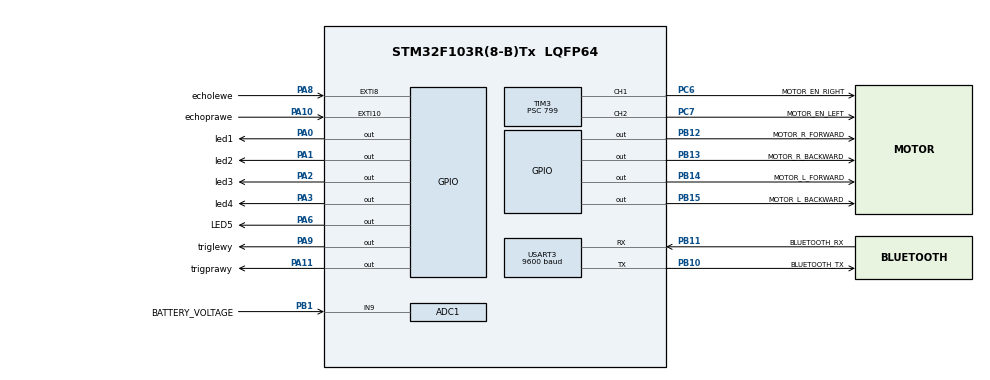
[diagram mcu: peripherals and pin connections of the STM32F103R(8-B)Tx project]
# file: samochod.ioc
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ADC1.Channel-5\#ChannelRegularConversion=ADC_CHANNEL_9
ADC1.NbrOfConversionFlag=1
ADC1.Rank-5\#ChannelRegularConversion=1
ADC1.SamplingTime-5\#ChannelRegularConversion=ADC_SAMPLETIME_1CYCLE_5
ADC1.master=1
Mcu.Family=STM32F1
Mcu.Name=STM32F103R(8-B)Tx
Mcu.Package=LQFP64
NVIC.EXTI15_10_IRQn=true\:0\:0\:false\:false\:true\:true
NVIC.PriorityGroup=NVIC_PRIORITYGROUP_4
NVIC.TIM1_TRG_COM_IRQn=true\:0\:0\:false\:false\:true\:true
NVIC.TIM2_IRQn=true\:0\:0\:false\:true\:true\:1\:true
NVIC.TIM3_IRQn=true\:0\:0\:false\:false\:true\:true
NVIC.USART3_IRQn=true\:0\:0\:false\:false\:true\:true
PA0-WKUP.GPIO_Label=led1
PA0-WKUP.Signal=GPIO_Output
PA1.GPIO_Label=led2
PA1.Signal=GPIO_Output
PA10.GPIO_Label=echoprawe
PA10.GPIO_ModeDefaultEXTI=GPIO_MODE_IT_RISING_FALLING
PA10.GPIO_PuPd=GPIO_PULLDOWN
PA10.Signal=GPXTI10
PA11.GPIO_Label=trigprawy
PA11.Signal=GPIO_Output
PA13.Mode=Serial_Wire
PA13.Signal=SYS_JTMS-SWDIO
PA14.Mode=Serial_Wire
PA14.Signal=SYS_JTCK-SWCLK
PA2.GPIO_Label=led3
PA2.Signal=GPIO_Output
PA3.GPIO_Label=led4
PA3.Signal=GPIO_Output
PA6.GPIO_Label=LED5
PA6.Signal=GPIO_Output
PA8.GPIO_Label=echolewe
PA8.GPIO_ModeDefaultEXTI=GPIO_MODE_IT_RISING_FALLING
PA8.GPIO_PuPd=GPIO_PULLDOWN
PA8.Signal=GPXTI8
PA9.GPIO_Label=triglewy
PA9.Signal=GPIO_Output
PB1.GPIO_Label=BATTERY_VOLTAGE
PB1.Signal=ADCx_IN9
PB10.GPIO_Label=BLUETOOTH_TX
PB10.Mode=Asynchronous
PB10.Signal=USART3_TX
PB11.GPIO_Label=BLUETOOTH_RX
PB11.Mode=Asynchronous
PB11.Signal=USART3_RX
PB12.GPIO_Label=MOTOR_R_FORWARD
PB12.Signal=GPIO_Output
PB13.GPIO_Label=MOTOR_R_BACKWARD
PB13.Signal=GPIO_Output
PB14.GPIO_Label=MOTOR_L_FORWARD
PB14.Signal=GPIO_Output
PB15.GPIO_Label=MOTOR_L_BACKWARD
PB15.Signal=GPIO_Output
PC6.GPIO_Label=MOTOR_EN_RIGHT
PC6.Signal=S_TIM3_CH1
PC7.GPIO_Label=MOTOR_EN_LEFT
PC7.Signal=S_TIM3_CH2
ProjectManager.HeapSize=0x200
ProjectManager.StackSize=0x400
ProjectManager.TargetToolchain=TrueSTUDIO
RCC.APB1Freq_Value=8000000
RCC.APB2Freq_Value=8000000
SH.ADCx_IN9.0=ADC1_IN9,IN9
SH.S_TIM3_CH1.0=TIM3_CH1,PWM Generation1 CH1
SH.S_TIM3_CH2.0=TIM3_CH2,PWM Generation2 CH2
TIM1.Period=999
TIM1.Prescaler=7
TIM2.Period=9999
TIM2.Prescaler=7
TIM3.Channel-PWM\ Generation1\ CH1=TIM_CHANNEL_1
TIM3.Channel-PWM\ Generation2\ CH2=TIM_CHANNEL_2
TIM3.Period=99
TIM3.Prescaler=799
USART3.BaudRate=9600
USART3.VirtualMode=VM_ASYNC
VP_TIM1_VS_ClockSourceINT.Mode=Internal
VP_TIM2_VS_ClockSourceINT.Mode=Internal
VP_TIM3_VS_ClockSourceINT.Mode=Internal
board=samochod

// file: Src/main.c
/**
  ******************************************************************************
  * @file           : main.c
  * @brief          : Main program body
  ******************************************************************************
  ** This notice applies to any and all portions of this file
  * that are not between comment pairs USER CODE BEGIN and
  * USER CODE END. Other portions of this file, whether
  * inserted by the user or by software development tools
  * are owned by their respective copyright owners.
  *
  * COPYRIGHT(c) 2018 STMicroelectronics
  *
  * Redistribution and use in source and binary forms, with or without modification,
  * are permitted provided that the following conditions are met:
  *   1. Redistributions of source code must retain the above copyright notice,
  *      this list of conditions and the following disclaimer.
  *   2. Redistributions in binary form must reproduce the above copyright notice,
  *      this list of conditions and the following disclaimer in the documentation
  *      and/or other materials provided with the distribution.
  *   3. Neither the name of STMicroelectronics nor the names of its contributors
  *      may be used to endorse or promote products derived from this software
  *      without specific prior written permission.
  *
  * THIS SOFTWARE IS PROVIDED BY THE COPYRIGHT HOLDERS AND CONTRIBUTORS "AS IS"
  * AND ANY EXPRESS OR IMPLIED WARRANTIES, INCLUDING, BUT NOT LIMITED TO, THE
  * IMPLIED WARRANTIES OF MERCHANTABILITY AND FITNESS FOR A PARTICULAR PURPOSE ARE
  * DISCLAIMED. IN NO EVENT SHALL THE COPYRIGHT HOLDER OR CONTRIBUTORS BE LIABLE
  * FOR ANY DIRECT, INDIRECT, INCIDENTAL, SPECIAL, EXEMPLARY, OR CONSEQUENTIAL
  * DAMAGES (INCLUDING, BUT NOT LIMITED TO, PROCUREMENT OF SUBSTITUTE GOODS OR
  * SERVICES; LOSS OF USE, DATA, OR PROFITS; OR BUSINESS INTERRUPTION) HOWEVER
  * CAUSED AND ON ANY THEORY OF LIABILITY, WHETHER IN CONTRACT, STRICT LIABILITY,
  * OR TORT (INCLUDING NEGLIGENCE OR OTHERWISE) ARISING IN ANY WAY OUT OF THE USE
  * OF THIS SOFTWARE, EVEN IF ADVISED OF THE POSSIBILITY OF SUCH DAMAGE.
  *
  ******************************************************************************
  */
#include "main.h"
#include "stm32f1xx_hal.h"
#include "adc.h"
#include "tim.h"
#include "usart.h"
#include "gpio.h"

/* USER CODE BEGIN PV */
/* Private variables ---------------------------------------------------------*/
int inited=0;
uint32_t test=0;
int SENSOR_EXT_Flag=0;
uint16_t timeSENSOR=0;
uint16_t distanceL=9999,distanceR=9999;
int8_t BluetoothData[2]={0,0};	//Roll,Pitch
uint16_t speedleft = 0;
uint16_t speedright = 0;
uint16_t dirleft=0;
uint16_t dirrightt=0;

uint16_t MOTOR_LEFT = 0xAA;
uint16_t MOTOR_RIGHT = 0xBB;
uint16_t MOTOR_FORWARD = 0xAA;
uint16_t MOTOR_BACKWARD = 0xBB;
uint16_t MOTOR_STOP = 0xCC;
int Change_Speed(uint16_t MOTOR,uint16_t DIRECTION,uint16_t SPEED){
	if((distanceL < 30 || distanceR<30)&& DIRECTION == MOTOR_FORWARD){
		HAL_GPIO_WritePin(MOTOR_R_BACKWARD_GPIO_Port,MOTOR_R_BACKWARD_Pin,GPIO_PIN_RESET);
		HAL_GPIO_WritePin(MOTOR_R_FORWARD_GPIO_Port,MOTOR_R_FORWARD_Pin,GPIO_PIN_RESET);
		HAL_GPIO_WritePin(MOTOR_L_BACKWARD_GPIO_Port,MOTOR_L_BACKWARD_Pin,GPIO_PIN_RESET);
		HAL_GPIO_WritePin(MOTOR_L_FORWARD_GPIO_Port,MOTOR_L_FORWARD_Pin,GPIO_PIN_RESET);
		speedleft = 0;
		speedright = 0;
		return -1;
	}
	if(DIRECTION == MOTOR_STOP){
		HAL_GPIO_WritePin(MOTOR_R_BACKWARD_GPIO_Port,MOTOR_R_BACKWARD_Pin,GPIO_PIN_RESET);
		HAL_GPIO_WritePin(MOTOR_R_FORWARD_GPIO_Port,MOTOR_R_FORWARD_Pin,GPIO_PIN_RESET);
		HAL_GPIO_WritePin(MOTOR_L_BACKWARD_GPIO_Port,MOTOR_L_BACKWARD_Pin,GPIO_PIN_RESET);
		HAL_GPIO_WritePin(MOTOR_L_FORWARD_GPIO_Port,MOTOR_L_FORWARD_Pin,GPIO_PIN_RESET);
		speedleft = 0;
		speedright = 0;
		return 0;
	}
	if(MOTOR != MOTOR_LEFT && MOTOR != MOTOR_RIGHT ) return -1;
	if(DIRECTION != MOTOR_BACKWARD && DIRECTION != MOTOR_FORWARD ) return -1;
	if(SPEED > 100 || SPEED <0) return -1;
	if(MOTOR == MOTOR_RIGHT){
		TIM3->CCR1 = speedright;
		if(DIRECTION == MOTOR_FORWARD){
			HAL_GPIO_WritePin(MOTOR_R_BACKWARD_GPIO_Port,MOTOR_R_BACKWARD_Pin,GPIO_PIN_RESET);
			HAL_GPIO_WritePin(MOTOR_R_FORWARD_GPIO_Port,MOTOR_R_FORWARD_Pin,GPIO_PIN_SET);
		}
		else{
			HAL_GPIO_WritePin(MOTOR_R_FORWARD_GPIO_Port,MOTOR_R_FORWARD_Pin,GPIO_PIN_RESET);
			HAL_GPIO_WritePin(MOTOR_R_BACKWARD_GPIO_Port,MOTOR_R_BACKWARD_Pin,GPIO_PIN_SET);
		}
	}
	else{
		TIM3->CCR2 = speedright;
		if(DIRECTION == MOTOR_FORWARD){
			HAL_GPIO_WritePin(MOTOR_L_BACKWARD_GPIO_Port,MOTOR_L_BACKWARD_Pin,GPIO_PIN_RESET);
			HAL_GPIO_WritePin(MOTOR_L_FORWARD_GPIO_Port,MOTOR_L_FORWARD_Pin,GPIO_PIN_SET);
		}
		else{
			HAL_GPIO_WritePin(MOTOR_L_FORWARD_GPIO_Port,MOTOR_L_FORWARD_Pin,GPIO_PIN_RESET);
			HAL_GPIO_WritePin(MOTOR_L_BACKWARD_GPIO_Port,MOTOR_L_BACKWARD_Pin,GPIO_PIN_SET);
		}
	}
	return 0;
}

uint32_t getUs(void) {

	uint32_t usTicks = HAL_RCC_GetSysClockFreq() / 1000000;
	register uint32_t ms, cycle_cnt;
	do {
		ms = HAL_GetTick();
		cycle_cnt = SysTick->VAL;
	} while (ms != HAL_GetTick());
	return (ms * 1000) + (usTicks * 1000 - cycle_cnt) / usTicks;
}

void delayUs(uint16_t micros) {
	uint32_t start = getUs();
	while (getUs() - start < (uint32_t) micros) {
		asm("nop");
	}
}

void HAL_TIM_PeriodElapsedCallback(TIM_HandleTypeDef *htim)
{
	if(htim == &htim2){
		timeSENSOR=65000;
		HAL_TIM_Base_Stop(&htim2);
		TIM2->CNT=0;
		SENSOR_EXT_Flag=4;

	}
}

void HAL_GPIO_EXTI_Callback(uint16_t GPIO_Pin)
{
	if(!inited)return;
	if(GPIO_Pin==echoprawe_Pin){
		if(HAL_GPIO_ReadPin(echoprawe_GPIO_Port,echoprawe_Pin)==GPIO_PIN_SET){
			HAL_TIM_Base_Start(&htim2);
			SENSOR_EXT_Flag=3;
		}
		else{
			timeSENSOR=TIM2->CNT;
			HAL_TIM_Base_Stop(&htim2);
			TIM2->CNT=0;
			SENSOR_EXT_Flag=4;
		}
	}
	else if(GPIO_Pin == echolewe_Pin){
		if(HAL_GPIO_ReadPin(echolewe_GPIO_Port,echolewe_Pin)==GPIO_PIN_SET){
			HAL_TIM_Base_Start(&htim2);
			SENSOR_EXT_Flag=3;
		}
		else{
			timeSENSOR=TIM2->CNT;
			HAL_TIM_Base_Stop(&htim2);
			TIM2->CNT=0;
			SENSOR_EXT_Flag=4;
		}
	}
}
uint32_t Measure_Right(){
  	HAL_GPIO_WritePin(trigprawy_GPIO_Port,trigprawy_Pin,GPIO_PIN_SET);
	delayUs(10);
	HAL_GPIO_WritePin(trigprawy_GPIO_Port,trigprawy_Pin,GPIO_PIN_RESET);

	while(SENSOR_EXT_Flag!=4);
	distanceR=timeSENSOR/58;
	return distanceR;
}
uint32_t Measure_Left(){
  	HAL_GPIO_WritePin(triglewy_GPIO_Port,triglewy_Pin,GPIO_PIN_SET);
	delayUs(10);
	HAL_GPIO_WritePin(triglewy_GPIO_Port,triglewy_Pin,GPIO_PIN_RESET);

	while(SENSOR_EXT_Flag!=4);
	distanceL=timeSENSOR/58;
	return distanceL;
}

void HAL_UART_RxCpltCallback(UART_HandleTypeDef *huart)
{
	HAL_GPIO_TogglePin(led1_GPIO_Port,led1_Pin);
  if(huart==&huart3){
	  HAL_UART_Receive_IT(&huart3,&BluetoothData,2);
  }
}

void AnglesToSpeed(){
	if(BluetoothData[1]<15 && BluetoothData[1] >-15){
		speedleft=0;
		speedright=0;
		if(BluetoothData[0] < 15 && BluetoothData[0] > -15) return;
		else if(BluetoothData[0] > 0){
			speedleft=BluetoothData[0];
			speedright=BluetoothData[0];
			dirleft=MOTOR_FORWARD;
			dirrightt=MOTOR_BACKWARD;
		}
		else{
			speedleft=-BluetoothData[0];
			speedright=-BluetoothData[0];
			dirleft=MOTOR_BACKWARD;
			dirrightt=MOTOR_FORWARD;
		}
	}
	else{
		if(BluetoothData[1] < 0){
			speedleft=-BluetoothData[1];
			speedright=-BluetoothData[1];
			dirleft=MOTOR_BACKWARD;
			dirrightt=MOTOR_BACKWARD;
			if(BluetoothData[0]>15 || BluetoothData[0]<-15){
				if(BluetoothData[0]>0){
					speedleft=(-BluetoothData[1] - BluetoothData[0]/5);
				}
				else{
					speedright=(-BluetoothData[1] + BluetoothData[0]/5);
				}
			}
		}
		else{
			speedleft=BluetoothData[1];
			speedright=BluetoothData[1];
			dirleft=MOTOR_FORWARD;
			dirrightt=MOTOR_FORWARD;
			if(BluetoothData[0]>15 || BluetoothData[0]<-15){
				if(BluetoothData[0]>0){
					speedleft=(BluetoothData[1] - BluetoothData[0]/5);
				}
				else{
					speedright=(BluetoothData[1] + BluetoothData[0]/5);
				}
			}
		}

	}
}

/* USER CODE END PV */

void SystemClock_Config(void);
static void MX_NVIC_Init(void);

/* USER CODE BEGIN PFP */
/* Private function prototypes -----------------------------------------------*/

/* USER CODE END PFP */

int main(void)
{

  /* MCU Configuration----------------------------------------------------------*/

  /* Reset of all peripherals, Initializes the Flash interface and the Systick. */
  HAL_Init();

  /* Configure the system clock */
  SystemClock_Config();

  /* Initialize all configured peripherals */
  MX_GPIO_Init();
  MX_ADC1_Init();
  MX_USART3_UART_Init();
  MX_TIM3_Init();
  MX_TIM1_Init();
  MX_TIM2_Init();

  /* Initialize interrupts */
  MX_NVIC_Init();
  /* USER CODE BEGIN 2 */
  inited=1;
  HAL_TIM_PWM_Start(&htim3,TIM_CHANNEL_1);
  HAL_TIM_PWM_Start(&htim3,TIM_CHANNEL_2);

  HAL_UART_Receive_IT(&huart3,&BluetoothData,2);
  /* USER CODE END 2 */

  /* Infinite loop */
  /* USER CODE BEGIN WHILE */
  while (1)
  {
	  Measure_Left();
	  Measure_Right();
	  AnglesToSpeed();

	  Change_Speed(MOTOR_LEFT,dirleft,speedleft);
	  Change_Speed(MOTOR_RIGHT,dirrightt,speedright);

  /* USER CODE END WHILE */

  }

}

void SystemClock_Config(void)
{

  RCC_OscInitTypeDef RCC_OscInitStruct;
  RCC_ClkInitTypeDef RCC_ClkInitStruct;
  RCC_PeriphCLKInitTypeDef PeriphClkInit;

    /**Initializes the CPU, AHB and APB busses clocks
    */
  RCC_OscInitStruct.OscillatorType = RCC_OSCILLATORTYPE_HSI;
  RCC_OscInitStruct.HSIState = RCC_HSI_ON;
  RCC_OscInitStruct.HSICalibrationValue = 16;
  RCC_OscInitStruct.PLL.PLLState = RCC_PLL_NONE;
  if (HAL_RCC_OscConfig(&RCC_OscInitStruct) != HAL_OK)
  {
    _Error_Handler(__FILE__, __LINE__);
  }

    /**Initializes the CPU, AHB and APB busses clocks
    */
  RCC_ClkInitStruct.ClockType = RCC_CLOCKTYPE_HCLK|RCC_CLOCKTYPE_SYSCLK
                              |RCC_CLOCKTYPE_PCLK1|RCC_CLOCKTYPE_PCLK2;
  RCC_ClkInitStruct.SYSCLKSource = RCC_SYSCLKSOURCE_HSI;
  RCC_ClkInitStruct.AHBCLKDivider = RCC_SYSCLK_DIV1;
  RCC_ClkInitStruct.APB1CLKDivider = RCC_HCLK_DIV1;
  RCC_ClkInitStruct.APB2CLKDivider = RCC_HCLK_DIV1;

  if (HAL_RCC_ClockConfig(&RCC_ClkInitStruct, FLASH_LATENCY_0) != HAL_OK)
  {
    _Error_Handler(__FILE__, __LINE__);
  }

  PeriphClkInit.PeriphClockSelection = RCC_PERIPHCLK_ADC;
  PeriphClkInit.AdcClockSelection = RCC_ADCPCLK2_DIV2;
  if (HAL_RCCEx_PeriphCLKConfig(&PeriphClkInit) != HAL_OK)
  {
    _Error_Handler(__FILE__, __LINE__);
  }

    /**Configure the Systick interrupt time
    */
  HAL_SYSTICK_Config(HAL_RCC_GetHCLKFreq()/1000);

    /**Configure the Systick
    */
  HAL_SYSTICK_CLKSourceConfig(SYSTICK_CLKSOURCE_HCLK);

  /* SysTick_IRQn interrupt configuration */
  HAL_NVIC_SetPriority(SysTick_IRQn, 0, 0);
}

/**
  * @brief NVIC Configuration.
  * @retval None
  */
static void MX_NVIC_Init(void)
{
  /* TIM2_IRQn interrupt configuration */
  HAL_NVIC_SetPriority(TIM2_IRQn, 0, 0);
  HAL_NVIC_EnableIRQ(TIM2_IRQn);
}

void _Error_Handler(char *file, int line)
{
  while(1)
  {
  }
}

/************************ (C) COPYRIGHT STMicroelectronics *****END OF FILE****/
